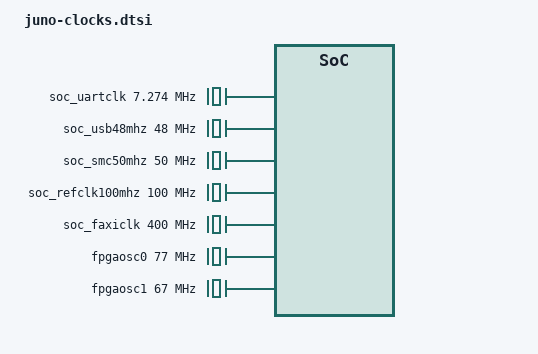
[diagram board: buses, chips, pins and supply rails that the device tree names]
/*
 * ARM Juno Platform clocks
 *
 * Copyright (c) 2013-2014 ARM Ltd
 *
 * This file is licensed under a dual GPLv2 or BSD license.
 *
 */
/ {
	/* SoC fixed clocks */
	soc_uartclk: refclk7273800hz {
		compatible = "fixed-clock";
		#clock-cells = <0>;
		clock-frequency = <7273800>;
		clock-output-names = "juno:uartclk";
	};

	soc_usb48mhz: clk48mhz {
		compatible = "fixed-clock";
		#clock-cells = <0>;
		clock-frequency = <48000000>;
		clock-output-names = "clk48mhz";
	};

	soc_smc50mhz: clk50mhz {
		compatible = "fixed-clock";
		#clock-cells = <0>;
		clock-frequency = <50000000>;
		clock-output-names = "smc_clk";
	};

	soc_refclk100mhz: refclk100mhz {
		compatible = "fixed-clock";
		#clock-cells = <0>;
		clock-frequency = <100000000>;
		clock-output-names = "apb_pclk";
	};

	soc_faxiclk: refclk400mhz {
		compatible = "fixed-clock";
		#clock-cells = <0>;
		clock-frequency = <400000000>;
		clock-output-names = "faxi_clk";
	};

	fpgaosc0: fpgaosc@0 {
		/* Internal FPGA clock @ 77 MHz */
		compatible = "fixed-clock";
		#clock-cells = <0>;
		clock-frequency = <77000000>;
		clock-output-names = "fpga:osc0";
	};

	fpgaosc1: fpgaosc@1 {
		/* Internal FPGA clock @ 67 MHz */
		compatible = "fixed-clock";
		#clock-cells = <0>;
		clock-frequency = <67000000>;
		clock-output-names = "fpga:osc1";
	};
};
